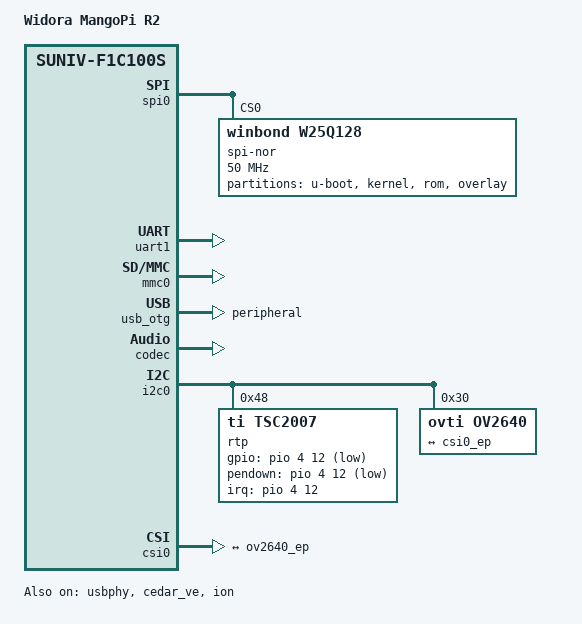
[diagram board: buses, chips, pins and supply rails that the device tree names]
// SPDX-License-Identifier: (GPL-2.0+ OR X11)

/dts-v1/;
#include "suniv-f1c100s.dtsi"

/ {
	model = "Widora MangoPi R2";
	compatible = "allwinner,suniv-f1c200s",
			 "allwinner,suniv-f1c100s";

	chosen {
		#address-cells = <1>;
		#size-cells = <1>;
		ranges;

		bootargs = "console=ttyS0,115200 rootwait init=/preinit root=/dev/mtdblock2 rootfstype=squashfs overlayfsdev=/dev/mtdblock3";

		simplefb_lcd: framebuffer-lcd0 {
			compatible = "allwinner,simple-framebuffer",
				     "simple-framebuffer";
			allwinner,pipeline = "de_be0-lcd0";
			clocks = <&ccu CLK_BUS_DE_BE>, <&ccu CLK_DE_BE>,
				 <&ccu CLK_DRAM_DE_BE>, <&ccu CLK_BUS_LCD>,
				 <&ccu CLK_TCON>;
			status = "disabled";
		};
	};

	// panel: panel {
	// 	compatible = "qiaodian,qd43003c0-40", "simple-panel";
	// 	#address-cells = <1>;
	// 	#size-cells = <0>;

	// 	port@0 {
	// 		reg = <0>;
	// 		#address-cells = <1>;
	// 		#size-cells = <0>;

	// 		panel_input: endpoint@0 {
	// 			reg = <0>;
	// 			remote-endpoint = <&tcon0_out_lcd>;
	// 		};
	// 	};
	// };
};

&spi0 {
	status = "okay";

	spi-nor@0 {
		#address-cells = <1>;
		#size-cells = <1>;
		compatible = "winbond,w25q128", "jedec,spi-nor";
		reg = <0>;
		spi-max-frequency = <50000000>;

		partitions {
			compatible = "fixed-partitions";
			#address-cells = <1>;
			#size-cells = <1>;

			partition@0 {
				label = "u-boot";
				reg = <0x000000 0x70000>;
				read-only;
			};

			partition@1 {
				label = "kernel";
				reg = <0x70000 0x590000>;
				read-only;
			};

			partition@2 {
				label = "rom";
				reg = <0x600000 0x700000>;
				read-only;
			};

			partition@3 {
				label = "overlay";
				reg = <0xd00000 0x300000>;
			};
		};
	};

	spi-nand@0 {
		#address-cells = <1>;
		#size-cells = <1>;
		compatible = "spi-nand";
		reg = <0>;
		spi-max-frequency = <50000000>;
		status = "disabled";

		partitions {
			compatible = "fixed-partitions";
			#address-cells = <1>;
			#size-cells = <1>;

			partition@0 {
				label = "u-boot";
				reg = <0x000000 0x100000>;
				read-only;
			};

			partition@1 {
				label = "kernel";
				reg = <0x100000 0x500000>;
				read-only;
			};

			partition@2 {
				label = "rom";
				reg = <0x600000 0x2a00000>;
				read-only;
			};

			partition@3 {
				label = "vendor";
				reg = <0x3000000 0x1000000>;
			};

			partition@4 {
				label = "overlay";
				reg = <0x4000000 0x3000000>;
			};
		};
	};
};

&uart1 {
	pinctrl-names = "default";
	pinctrl-0 = <&uart1_pa_pins>;
	status = "okay";
};

&mmc0 {
	status = "okay";
	broken-cd;
};

&otg_sram {
	status = "okay";
};

&usb_otg {
	dr_mode = "peripheral"; /* host peripheral */
	status = "okay";
};

&usbphy {
	status = "okay";
};

&cedar_ve {
	status = "okay";
};

&ion {
	status = "okay";
};

// &de {
// 	status = "okay";
// };

// &fe0 {
// 	status = "okay";
// };

// &be0 {
// 	status = "okay";
// };

// &tve0 {
// 	status = "okay";
// };

// &tcon0 {
// 	pinctrl-names = "default";
// 	pinctrl-0 = <&lcd_rgb565_pins>;
// 	status = "okay";
// };

// &tcon0_out {
// 	tcon0_out_lcd: endpoint@0 {
// 		reg = <0>;
// 		remote-endpoint = <&panel_input>;
// 	};
// };

&codec {
	allwinner,audio-routing =
		"Headphone", "HP",
		"Headphone", "HPCOM",
		"LINEIN", "Line In",
		"FMINL", "Left FM In",
		"FMINR", "Right FM In",
		"MIC", "Mic";
	status = "okay";
};

&i2c0 {
	pinctrl-names = "default";
	pinctrl-0 = <&i2c0_pd_pins>;
	status = "okay";

	rtp@48 {
		compatible = "ti,tsc2007";
		reg = <0x48>;
		interrupt-parent = <&pio>;
		interrupts = <4 12 IRQ_TYPE_EDGE_FALLING>;
		gpios = <&pio 4 12 GPIO_ACTIVE_LOW>;
		pendown-gpio = <&pio 4 12 GPIO_ACTIVE_LOW>;
		ti,x-plate-ohms = <660>;
		wakeup-source;
	};

	ov2640: camera@30 {
		compatible = "ovti,ov2640";
		reg = <0x30>;
		pinctrl-0 = <&clk_out_pins>;
		pinctrl-names = "default";
		clocks = <&clk_out>;
		clock-names = "xvclk";
		assigned-clocks = <&clk_out>;
		assigned-clock-rates = <24000000>;

		port {
			ov2640_ep: endpoint {
				remote-endpoint = <&csi0_ep>;
				bus-width = <8>;
				hsync-active = <0>;
				vsync-active = <0>;
				pclk-sample = <1>;
			};
		};
	};

	ov5640: camera@3c {
		compatible = "ovti,ov5640";
		reg = <0x3c>;
		pinctrl-0 = <&clk_out_pins>;
		pinctrl-names = "default";
		clocks = <&clk_out>;
		clock-names = "xclk";
		assigned-clocks = <&clk_out>;
		assigned-clock-rates = <24000000>;
		status = "disabled";

		port {
			ov5640_ep: endpoint {
				remote-endpoint = <&csi0_ep>;
				bus-width = <8>;
				hsync-active = <0>;
				vsync-active = <0>;
				pclk-sample = <1>;
			};
		};
	};
};

&csi0 {
	pinctrl-names = "default";
	pinctrl-0 = <&csi0_pins>;
	packed-format;
	status = "okay";

	port {
		csi0_ep: endpoint {
			remote-endpoint = <&ov2640_ep>;
			bus-width = <8>;
			hsync-active = <0>;
			vsync-active = <0>;
			pclk-sample = <1>;
		};
	};
};
